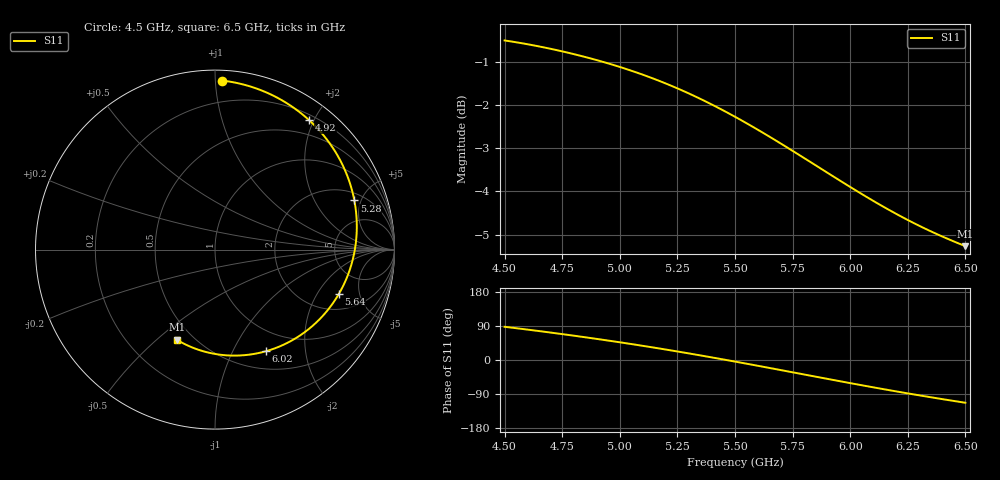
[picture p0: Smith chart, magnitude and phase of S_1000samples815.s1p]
! TOUCHSTONE file generated by CST MICROWAVE STUDIO
! Date and time: Sat Oct 29 11:56:35 2022
! Project name: L.cst
! Parameters = {Di=1.27; Epsilon_r=1.56; InnerDiameter=1.27; Length=2; Lf=10; Lg=60; OuterConductorThickness=0.2921; OuterDiameter=3.6; Wf=3; Wp=41.2; de=1.5; df=6.8; g=0.8; gx=1.01641; gy=3.22199; h=2.34; hf=1.524; px=8.28094; py=10.9896; w=9.7; wx=7.26453; wy=7.76758}
! Header version: 2018
! Port assignment regex: !\s*Touchstone port\s*([0-9]+)\s*=\s*(CST MWS port|CST DS port)\s*([0-9]+|Zmin|Zmax)\s*\(\"(.*)\"\)(\s*mode\s*([0-9]+))?.*
! Touchstone port assignment:
! Touchstone port 1 = CST MWS port 1 ("")
# GHz S DB R 50
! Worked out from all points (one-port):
!   101 points, 4.5 GHz to 6.5 GHz, reference 50 ohm
!   lowest |S11| = -5.3 dB at 6.5 GHz (marker M1), VSWR 3.40, Z = 20.4 - j29.2 ohm
!   |S11| at or under -10 dB: nowhere
!   S11 on the Smith chart (normalised r, x): 4.5 GHz: 0.06, +1.04; 4.92 GHz: 0.28, +1.94; 5.28 GHz: 2.58, +4.38; 5.64 GHz: 2.91, -3.13; 6.02 GHz: 0.72, -1.36; 6.5 GHz: 0.41, -0.58
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4.5  -0.51 87.7
4.58  -0.58 81.7
4.64  -0.64 77.1
4.76  -0.78 67.5
4.84  -0.88 60.8
4.92  -1.00 53.9
5  -1.12 46.7
5.08  -1.27 39.3
5.14  -1.38 33.5
5.2  -1.51 27.6
5.26  -1.64 21.5
5.28  -1.69 19.4
5.34  -1.84 13.2
5.4  -1.99 6.8
5.5  -2.28 -4.2
5.56  -2.46 -10.9
5.64  -2.70 -19.9
5.76  -3.10 -33.6
5.82  -3.30 -40.5
5.88  -3.50 -47.4
5.94  -3.70 -54.2
6  -3.90 -61.0
6.02  -3.96 -63.2
6.08  -4.16 -69.9
6.14  -4.34 -76.4
6.26  -4.69 -89.2
6.38  -5.00 -101.3
6.5  -5.27 -112.8
